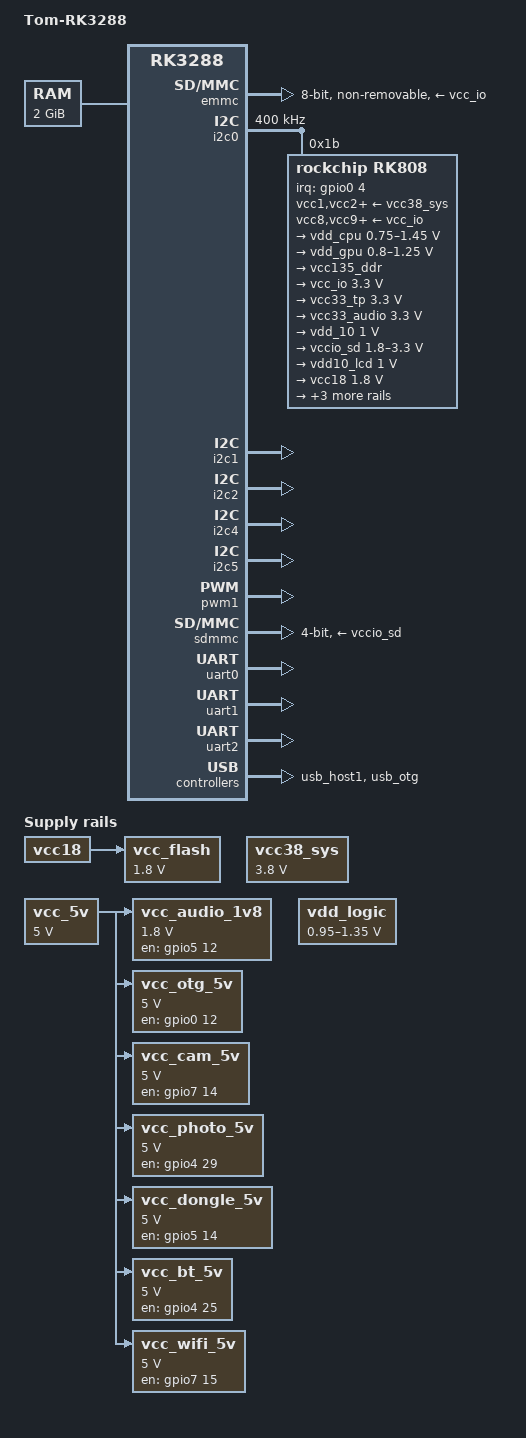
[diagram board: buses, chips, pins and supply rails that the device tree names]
/*
 * (C) Copyright 2015 Rockchip Electronics Co., Ltd
 *
 * SPDX-License-Identifier:     GPL-2.0+ X11
 */

/dts-v1/;
#include "rk3288.dtsi"

/ {
	model = "Tom-RK3288";
	compatible = "tom-rk3288,tom-rk3288", "rockchip,rk3288";

	chosen {
		stdout-path = &uart2;
	};

	memory {
		reg = <0x0 0x80000000>;
	};

	vcc38_sys: vsys-regulator {
		compatible = "regulator-fixed";
		regulator-name = "vcc38_sys";
		regulator-min-microvolt = <3800000>;
		regulator-max-microvolt = <3800000>;
		regulator-always-on;
		regulator-boot-on;
	};

	vcc_flash: flash-regulator {
		compatible = "regulator-fixed";
		regulator-name = "vcc_flash";
		regulator-min-microvolt = <1800000>;
		regulator-max-microvolt = <1800000>;
		vin-supply = <&vcc18>;
	};

	vcc_audio_1v8: audio-regulator {
		compatible = "regulator-fixed";
		enable-active-high;
		gpio = <&gpio5 12 GPIO_ACTIVE_HIGH>;
		pinctrl-names = "default";
		pinctrl-0 = <&codec_en>;
		regulator-name = "vcc_audio_1v8";
		regulator-min-microvolt = <1800000>;
		regulator-max-microvolt = <1800000>;
		regulator-always-on;
		vin-supply = <&vcc_5v>;
	};

	vcc_5v: vcc-5v {
		compatible = "regulator-fixed";
		regulator-name = "vcc_5v";
		regulator-min-microvolt = <5000000>;
		regulator-max-microvolt = <5000000>;
		regulator-always-on;
		regulator-boot-on;
	};

	vcc_otg_5v: usb-otg-regulator {
		compatible = "regulator-fixed";
		enable-active-high;
		gpio = <&gpio0 12 GPIO_ACTIVE_HIGH>;
		pinctrl-names = "default";
		pinctrl-0 = <&otg_vbus_drv>;
		regulator-name = "vcc_otg_5v";
		regulator-max-microvolt = <5000000>;
		regulator-always-on;
		vin-supply = <&vcc_5v>;
	};

	vcc_cam_5v: camera-regulator {
		compatible = "regulator-fixed";
		enable-active-high;
		gpio = <&gpio7 14 GPIO_ACTIVE_HIGH>;
		pinctrl-names = "default";
		pinctrl-0 = <&cam_en>;
		regulator-name = "vcc_cam_5v";
		regulator-min-microvolt = <5000000>;
		regulator-max-microvolt = <5000000>;
		regulator-always-on;
		vin-supply = <&vcc_5v>;
	};

	vcc_photo_5v: usb-photo-regulator {
		compatible = "regulator-fixed";
		enable-active-high;
		gpio = <&gpio4 29 GPIO_ACTIVE_HIGH>;
		pinctrl-names = "default";
		pinctrl-0 = <&photo_en>;
		regulator-name = "vcc_photo_5v";
		regulator-min-microvolt = <5000000>;
		regulator-max-microvolt = <5000000>;
		regulator-always-on;
		vin-supply = <&vcc_5v>;
	};

	vcc_dongle_5v: dongle-regulator {
		compatible = "regulator-fixed";
		enable-active-high;
		gpio = <&gpio5 14 GPIO_ACTIVE_HIGH>;
		pinctrl-names = "default";
		pinctrl-0 = <&dongle_en>;
		regulator-name = "vcc_dongle_5v";
		regulator-min-microvolt = <5000000>;
		regulator-max-microvolt = <5000000>;
		regulator-always-on;
		vin-supply = <&vcc_5v>;
	};

	vcc_bt_5v: bt-regulator {
		compatible = "regulator-fixed";
		enable-active-high;
		gpio = <&gpio4 25 GPIO_ACTIVE_HIGH>;
		pinctrl-names = "default";
		pinctrl-0 = <&bt_en>;
		regulator-name = "vcc_bt_5v";
		regulator-min-microvolt = <5000000>;
		regulator-max-microvolt = <5000000>;
		regulator-always-on;
		vin-supply = <&vcc_5v>;
	};

	vcc_wifi_5v: bt-regulator {
		compatible = "regulator-fixed";
		enable-active-high;
		gpio = <&gpio7 15 GPIO_ACTIVE_HIGH>;
		pinctrl-names = "default";
		pinctrl-0 = <&wifi_en>;
		regulator-name = "vcc_wifi_5v";
		regulator-min-microvolt = <5000000>;
		regulator-max-microvolt = <5000000>;
		regulator-always-on;
		vin-supply = <&vcc_5v>;
	};

	vdd_logic: pwm-regulator {
		compatible = "pwm-regulator";
		pwms = <&pwm1 0 2000 0>;

		voltage-table = <1350000 0>,
				<1300000 10>,
				<1250000 20>,
				<1200000 31>,
				<1150000 41>,
				<1100000 52>,
				<1050000 62>,
				<1000000 72>,
				< 950000 83>;

		regulator-min-microvolt = <950000>;
		regulator-max-microvolt = <1350000>;
		regulator-name = "vdd_logic";
		regulator-ramp-delay = <4000>;
	};
};

&cpu0 {
	cpu0-supply = <&vdd_cpu>;
};

&dmc {
	rockchip,num-channels = <2>;
	rockchip,pctl-timing = <0x29a 0xc8 0x1f4 0x42 0x4e 0x4 0xea 0xa
		0x5 0x0 0xa 0x7 0x19 0x24 0xa 0x7
		0x5 0xa 0x5 0x200 0x5 0x10 0x40 0x0
		0x1 0x7 0x7 0x4 0xc 0x43 0x100 0x0
		0x5 0x0>;
	rockchip,phy-timing = <0x48f9aab4 0xea0910 0x1002c200
		0xa60 0x40 0x10 0x0>;
	rockchip,sdram-channel = /bits/ 8 <0x1 0xa 0x3 0x2 0x1 0x0 0xf 0xf>;
	rockchip,sdram-params = <0x30B25564 0x627 3 666000000 3 9 1>;
};

&emmc {
	u-boot,dm-pre-reloc;
	broken-cd;
	bus-width = <8>;
	cap-mmc-highspeed;
	disable-wp;
	non-removable;
	num-slots = <1>;
	pinctrl-names = "default";
	pinctrl-0 = <&emmc_clk>, <&emmc_cmd>, <&emmc_pwr>, <&emmc_bus8>;
	vmmc-supply = <&vcc_io>;
	vqmmc-supply = <&vcc_flash>;
	status = "okay";
};

&gpio3 {
	u-boot,dm-pre-reloc;
};

&gpio8 {
	u-boot,dm-pre-reloc;
};

&i2c0 {
	status = "okay";

	clock-frequency = <400000>;
	i2c-scl-falling-time-ns = <50>;		/* 2.5ns measured */
	i2c-scl-rising-time-ns = <100>;		/* 45ns measured */

	rk808: pmic@1b {
		compatible = "rockchip,rk808";
		clock-output-names = "xin32k", "wifibt_32kin";
		interrupt-parent = <&gpio0>;
		interrupts = <4 IRQ_TYPE_LEVEL_LOW>;
		pinctrl-names = "default";
		pinctrl-0 = <&pmic_int_l>;
		reg = <0x1b>;
		rockchip,system-power-controller;
		wakeup-source;
		#clock-cells = <1>;

		vcc1-supply = <&vcc38_sys>;
		vcc2-supply = <&vcc38_sys>;
		vcc3-supply = <&vcc38_sys>;
		vcc4-supply = <&vcc38_sys>;
		vcc6-supply = <&vcc38_sys>;
		vcc7-supply = <&vcc38_sys>;
		vcc8-supply = <&vcc_io>;
		vcc9-supply = <&vcc_io>;
		vcc10-supply = <&vcc38_sys>;
		vcc11-supply = <&vcc38_sys>;
		vcc12-supply = <&vcc_io>;

		vddio-supply = <&vcc_io>;

		regulators {
			vdd_cpu: DCDC_REG1 {
				regulator-always-on;
				regulator-boot-on;
				regulator-min-microvolt = <750000>;
				regulator-max-microvolt = <1450000>;
				regulator-name = "vdd_arm";
				regulator-ramp-delay = <6001>;
				regulator-suspend-mem-disabled;
			};

			vdd_gpu: DCDC_REG2 {
				regulator-always-on;
				regulator-boot-on;
				regulator-min-microvolt = <800000>;
				regulator-max-microvolt = <1250000>;
				regulator-name = "vdd_gpu";
				regulator-ramp-delay = <6001>;
				regulator-suspend-mem-disabled;
			};

			vcc135_ddr: DCDC_REG3 {
				regulator-always-on;
				regulator-boot-on;
				regulator-name = "vcc135_ddr";
				regulator-suspend-mem-enabled;
			};

			vcc_io: DCDC_REG4 {
				regulator-always-on;
				regulator-boot-on;
				regulator-min-microvolt = <3300000>;
				regulator-max-microvolt = <3300000>;
				regulator-name = "vcc_io";
				regulator-suspend-mem-microvolt = <3300000>;
			};

			vcc33_tp: LDO_REG1 {
				regulator-always-on;
				regulator-boot-on;
				regulator-min-microvolt = <3300000>;
				regulator-max-microvolt = <3300000>;
				regulator-name = "vcc33_tp";
				regulator-suspend-mem-microvolt = <3300000>;
			};

			vcc33_audio: vcc33_codec: LDO_REG2 {
				regulator-always-on;
				regulator-boot-on;
				regulator-min-microvolt = <3300000>;
				regulator-max-microvolt = <3300000>;
				regulator-name = "vcc33_codec";
				regulator-suspend-mem-disabled;
			};

			vdd_10: LDO_REG3 {
				regulator-always-on;
				regulator-boot-on;
				regulator-min-microvolt = <1000000>;
				regulator-max-microvolt = <1000000>;
				regulator-name = "vdd_10";
				regulator-suspend-mem-microvolt = <1000000>;
			};

			vccio_sd: LDO_REG5 {
				regulator-min-microvolt = <1800000>;
				regulator-max-microvolt = <3300000>;
				regulator-name = "vccio_sd";
				regulator-suspend-mem-disabled;
			};

			vdd10_lcd: LDO_REG6 {
				regulator-always-on;
				regulator-boot-on;
				regulator-min-microvolt = <1000000>;
				regulator-max-microvolt = <1000000>;
				regulator-name = "vdd10_lcd";
				regulator-suspend-mem-disabled;
			};

			vcc18: LDO_REG7 {
				regulator-always-on;
				regulator-boot-on;
				regulator-min-microvolt = <1800000>;
				regulator-max-microvolt = <1800000>;
				regulator-name = "vcc18";
				regulator-suspend-mem-disabled;
			};

			vcc18_lcd: LDO_REG8 {
				regulator-always-on;
				regulator-boot-on;
				regulator-min-microvolt = <1800000>;
				regulator-max-microvolt = <1800000>;
				regulator-name = "vcc18_lcd";
				regulator-suspend-mem-disabled;
			};

			vcc33_sd: SWITCH_REG1 {
				regulator-always-on;
				regulator-boot-on;
				regulator-name = "vcc33_sd";
				regulator-suspend-mem-disabled;
			};

			vcc_lcd: SWITCH_REG2 {
				regulator-always-on;
				regulator-boot-on;
				regulator-name = "vcc_lcd";
				regulator-suspend-mem-disabled;
			};
		};
	};
};

&i2c1 {
	status = "okay";
};

&i2c2 {
	status = "okay";
};

&i2c4 {
	status = "okay";
};

&i2c5 {
	status = "okay";
};

&pwm1 {
	status = "okay";
};

&sdmmc {
	u-boot,dm-pre-reloc;
	bus-width = <4>;
	cap-mmc-highspeed;
	cap-sd-highspeed;
	card-detect-delay = <200>;
	disable-wp;
	num-slots = <1>;
	pinctrl-names = "default";
	pinctrl-0 = <&sdmmc_clk>, <&sdmmc_cmd>, <&sdmmc_cd>, <&sdmmc_bus4>;
	vmmc-supply = <&vccio_sd>;
	status = "okay";
};

&uart0 {
	status = "okay";
};

&uart1 {
	status = "okay";
};

&uart2 {
	u-boot,dm-pre-reloc;
	reg-shift = <2>;
	status = "okay";
};

&usb_host1 {
	status = "okay";
};

&usb_otg {
	status = "okay";
	vdd-supply = <&vcc_otg_5v>;
};

&pinctrl {
	u-boot,dm-pre-reloc;
	pcfg_output_high: pcfg-output-high {
		output-high;
	};

	pcfg_output_low: pcfg-output-low {
		output-low;
	};

	codec {
		codec_en: codec-en {
			rockchip,pins = <5 12 RK_FUNC_GPIO &pcfg_pull_none>;
		};
	};

	usb {
		otg_vbus_drv: otg-vbus-drv {
			rockchip,pins = <0 12 RK_FUNC_GPIO &pcfg_pull_none>;
		};

		cam_en: cam-en {
			rockchip,pins = <7 14 RK_FUNC_GPIO &pcfg_pull_none>;
		};

		photo_en: photo-en {
			rockchip,pins = <4 29 RK_FUNC_GPIO &pcfg_pull_none>;
		};

		dongle_en: dongle-en {
			rockchip,pins = <5 14 RK_FUNC_GPIO &pcfg_pull_none>;
		};

		bt_en: bt-en {
			rockchip,pins = <4 25 RK_FUNC_GPIO &pcfg_pull_none>;
		};

		wifi_en: wifi-en {
			rockchip,pins = <7 15 RK_FUNC_GPIO &pcfg_pull_none>;
		};
	};

	pmic {
		pmic_int_l: pmic-int-l {
			rockchip,pins = <RK_GPIO0 4 RK_FUNC_GPIO &pcfg_pull_up>;
		};
	};
};
